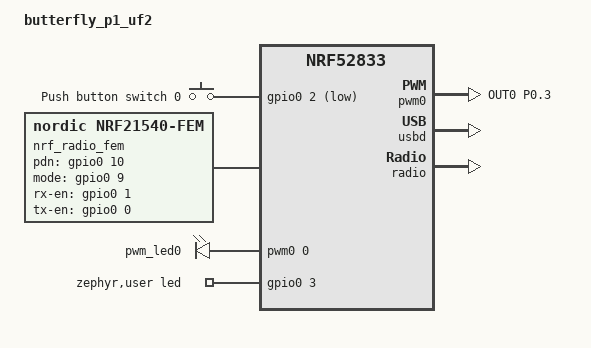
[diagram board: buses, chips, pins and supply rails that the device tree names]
// Copyright (c) 2024 Nordic Semiconductor ASA
// SPDX-License-Identifier: Apache-2.0

/dts-v1/;
#include <nordic/nrf52833_qiaa.dtsi>

//move to dtsi?
&pinctrl {
	pwm0_default: pwm0_default {
		group1 {
			psels = <NRF_PSEL(PWM_OUT0, 0, 3)>;
			nordic,drive-mode = <NRF_DRIVE_D0S1>;
		};
	};

	pwm0_sleep: pwm0_sleep {
		group1 {
			psels = <NRF_PSEL(PWM_OUT0, 0, 3)>;
			low-power-enable;
		};
	};
};
//end

/ {
	model = "butterfly_p1_uf2";
	compatible = "butterfly_p1_uf2";

	aliases {
		sw0 = &button0;
		pwm-led0 = &pwm_led0;
	};

	buttons {
		compatible = "gpio-keys";
		button0: button_0 {
			gpios = <&gpio0 2 (GPIO_PULL_UP | GPIO_ACTIVE_LOW)>;
			label = "Push button switch 0";
		};
	};

	chosen {
		zephyr,sram = &sram0;
		zephyr,flash = &flash0;
		zephyr,console = &cdc_acm_uart0;
		zephyr,shell-uart = &cdc_acm_uart0;
	};

	nrf_radio_fem: nrf21540_fem {
		compatible = "nordic,nrf21540-fem";
		supply-voltage-mv = <3000>;
		pdn-gpios = <&gpio0 10 GPIO_ACTIVE_HIGH>;
		mode-gpios = <&gpio0 9 GPIO_ACTIVE_HIGH>;
		rx-en-gpios = <&gpio0 1 GPIO_ACTIVE_HIGH>;
		tx-en-gpios = <&gpio0 0 GPIO_ACTIVE_HIGH>;
		// TRX (Transmit/Receive Select)
		// trx-gpios = <&gpio0 17 GPIO_ACTIVE_HIGH>;
	};

	pwmleds {
		compatible = "pwm-leds";
		pwm_led0: pwm_led_0 {
			pwms = <&pwm0 0 PWM_MSEC(1) PWM_POLARITY_NORMAL>;
		};
	};

	zephyr,user {
		led-gpios = <&gpio0 3 GPIO_OPEN_SOURCE>;
	};
};

&gpiote {
	status = "okay";
};

&gpio0 {
	status = "okay";
};

&gpio1 {
	status = "okay";
};

&pwm0 {
	status = "okay";
	pinctrl-0 = <&pwm0_default>;
	pinctrl-1 = <&pwm0_sleep>;
	pinctrl-names = "default", "sleep";
};

zephyr_udc0: &usbd {
	compatible = "nordic,nrf-usbd";
	status = "okay";
	cdc_acm_uart0: cdc_acm_uart0 {
		compatible = "zephyr,cdc-acm-uart";
	};
};

&nfct {
	status = "disabled";
};

&radio {
	fem = <&nrf_radio_fem>;
};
